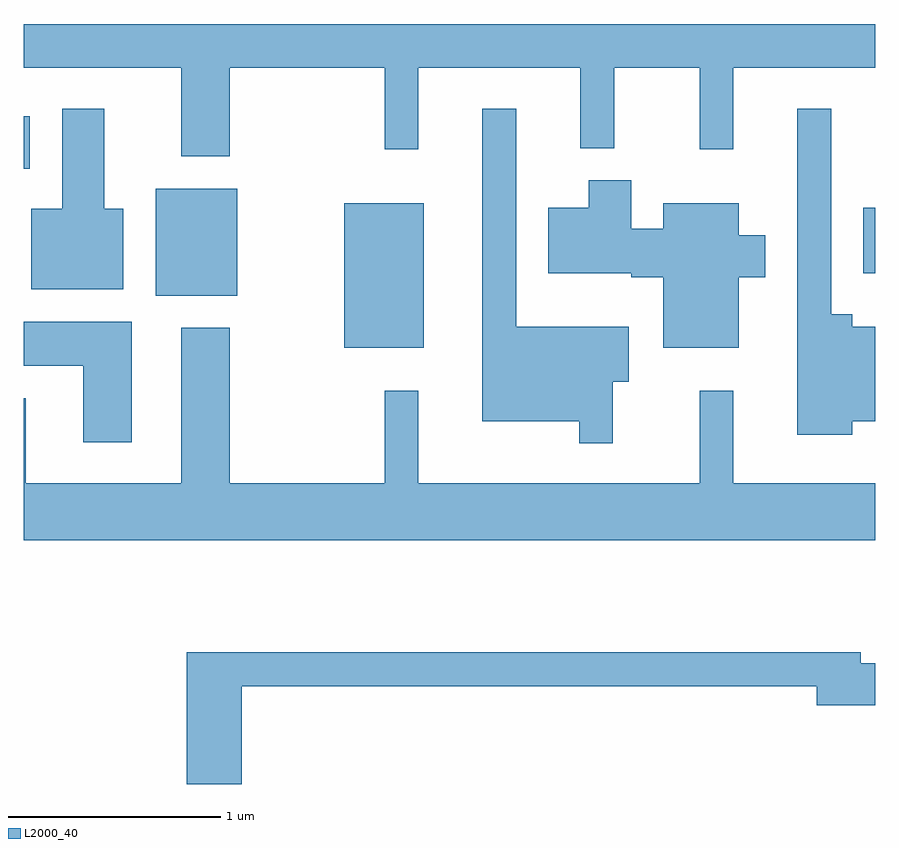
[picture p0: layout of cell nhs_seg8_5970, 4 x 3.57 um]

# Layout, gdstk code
import gdstk
lib = gdstk.Library(unit=1e-6, precision=1e-09)
def R(c, l, rs):  # rectangles x0, y0, x1, y1
    for r in rs: c.add(gdstk.rectangle(r[:2], r[2:], *l))
def P(c, l, *ps):  # polygons
    for p in ps: c.add(gdstk.Polygon(p, *l))
L2000_40 = (2000, 40)

nhs_seg8_5970 = lib.new_cell('nhs_seg8_5970')
R(nhs_seg8_5970, L2000_40, [(365.116,1892.821,365.489,1893.499), (364.231,1893.066,364.614,1893.569), (367.556,1893.171,367.611,1893.479), (363.611,1893.661,363.639,1893.909)])
P(nhs_seg8_5970, L2000_40, [(364.579,1894.136),(365.306,1894.136),(365.306,1893.753),(365.464,1893.753),(365.464,1894.136),(366.226,1894.136),(366.226,1893.758),(366.384,1893.758),(366.384,1894.136),(366.786,1894.136),(366.786,1893.753),(366.944,1893.753),(366.944,1894.136),(367.611,1894.136),(367.611,1894.342),(363.611,1894.342),(363.611,1894.136),(364.351,1894.136),(364.351,1893.721),(364.579,1893.721)],
  [(364.079,1893.474),(363.989,1893.474),(363.989,1893.944),(363.791,1893.944),(363.791,1893.474),(363.646,1893.474),(363.646,1893.096),(364.079,1893.096)],
  [(367.504,1892.476),(367.611,1892.476),(367.611,1892.919),(367.504,1892.919),(367.504,1892.979),(367.404,1892.979),(367.404,1893.943),(367.246,1893.943),(367.246,1892.411),(367.504,1892.411)],
  [(366.379,1892.661),(366.454,1892.661),(366.454,1892.919),(365.924,1892.919),(365.924,1893.943),(365.766,1893.943),(365.766,1892.476),(366.221,1892.476),(366.221,1892.373),(366.379,1892.373)],
  [(366.969,1893.151),(367.094,1893.151),(367.094,1893.349),(366.969,1893.349),(366.969,1893.499),(366.616,1893.499),(366.616,1893.379),(366.464,1893.379),(366.464,1893.609),(366.266,1893.609),(366.266,1893.479),(366.076,1893.479),(366.076,1893.171),(366.466,1893.171),(366.466,1893.151),(366.616,1893.151),(366.616,1892.821),(366.969,1892.821)],
  [(364.119,1892.944),(363.611,1892.944),(363.611,1892.736),(363.891,1892.736),(363.891,1892.376),(364.119,1892.376)],
  [(367.611,1892.184),(366.944,1892.184),(366.944,1892.618),(366.786,1892.618),(366.786,1892.184),(365.464,1892.184),(365.464,1892.618),(365.306,1892.618),(365.306,1892.184),(364.579,1892.184),(364.579,1892.914),(364.351,1892.914),(364.351,1892.184),(363.619,1892.184),(363.619,1892.584),(363.611,1892.584),(363.611,1891.916),(367.611,1891.916)],
  [(364.634,1891.231),(367.336,1891.231),(367.336,1891.141),(367.611,1891.141),(367.611,1891.339),(367.544,1891.339),(367.544,1891.389),(364.376,1891.389),(364.376,1890.771),(364.634,1890.771)])

lib.write_gds('nhs_seg8_5970.gds')
